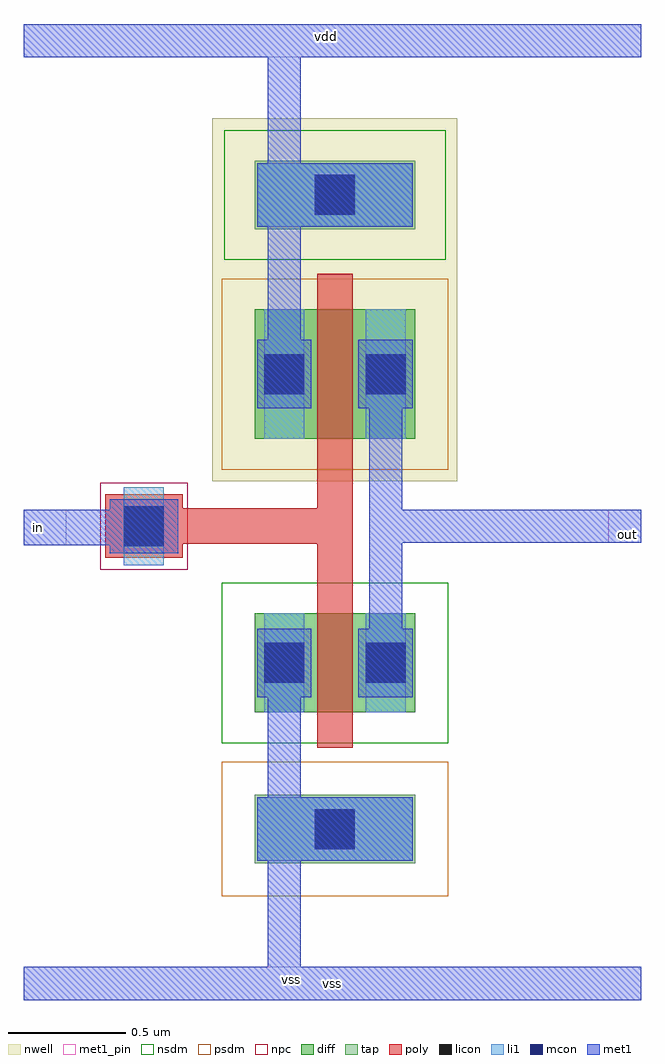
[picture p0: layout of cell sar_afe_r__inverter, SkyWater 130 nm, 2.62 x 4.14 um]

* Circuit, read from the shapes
.subckt sar_afe_r__inverter in out vdd vss
XM1 out in vss vss sky130_fd_pr__nfet_01v8 w=0.42 l=0.15
XM2 out in vdd vdd sky130_fd_pr__pfet_01v8 w=0.55 l=0.15
.ends

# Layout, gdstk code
import gdstk
lib = gdstk.Library(unit=1e-6, precision=1e-09)
def R(c, l, rs):  # rectangles x0, y0, x1, y1
    for r in rs: c.add(gdstk.rectangle(r[:2], r[2:], *l))
nwell = (64, 20)
diff = (65, 20)
tap = (65, 44)
poly = (66, 20)
licon = (66, 44)
li1 = (67, 20)
mcon = (67, 44)
met1_pin = (68, 16)
met1 = (68, 20)
nsdm = (93, 44)
psdm = (94, 20)
npc = (95, 20)

sar_afe_r__nfet_01v8_cdn = lib.new_cell('sar_afe_r__nfet_01v8_CDNS_792464069082')
R(sar_afe_r__nfet_01v8_cdn, diff, [(-0.265,0,0,0.42), (0,0,0.15,0.42), (0.15,0,0.415,0.42)])
R(sar_afe_r__nfet_01v8_cdn, tap, [(-0.265,-0.64,0.415,-0.35)])
R(sar_afe_r__nfet_01v8_cdn, poly, [(0,-0.15,0.15,-0.095), (0,-0.095,0.15,0), (0,0,0.15,0.42), (0,0.42,0.15,0.515), (0,0.515,0.15,0.57)])
R(sar_afe_r__nfet_01v8_cdn, licon, [(-0.01,-0.58,0.16,-0.41), (-0.225,0.125,-0.055,0.295), (0.205,0.125,0.375,0.295)])
R(sar_afe_r__nfet_01v8_cdn, li1, [(-0.255,-0.63,0.405,-0.36), (-0.225,0,-0.055,0.42), (0.205,0,0.375,0.42)])
R(sar_afe_r__nfet_01v8_cdn, mcon, [(-0.01,-0.58,0.16,-0.41)])
R(sar_afe_r__nfet_01v8_cdn, met1, [(-0.255,-0.63,0.405,-0.36)])
R(sar_afe_r__nfet_01v8_cdn, nsdm, [(-0.405,-0.13,0.555,0.55)])
R(sar_afe_r__nfet_01v8_cdn, psdm, [(-0.405,-0.78,0.555,-0.21)])
sar_afe_r__nfet_01v8_cdn.add(gdstk.Label('B', (0.075,-0.495), layer=68, texttype=20))
sar_afe_r__nfet_01v8_cdn.add(gdstk.Label('D_drain_1', (0.29,0.21), layer=67, texttype=20))
sar_afe_r__nfet_01v8_cdn.add(gdstk.Label('S_source_0', (-0.14,0.21), layer=67, texttype=20))
sar_afe_r__nfet_01v8_cdn.add(gdstk.Label('G_gate_1', (0.075,-0.122), layer=66, texttype=20))
sar_afe_r__nfet_01v8_cdn.add(gdstk.Label('G_gate_1', (0.075,0.542), layer=66, texttype=20))
sar_afe_r__nfet_01v8_cdn.add(gdstk.Label('D_drain_1', (0.282,0.21), layer=65, texttype=20))
sar_afe_r__nfet_01v8_cdn.add(gdstk.Label('S_source_0', (-0.132,0.21), layer=65, texttype=20))

sar_afe_r__pfet_01v8_cdn = lib.new_cell('sar_afe_r__pfet_01v8_CDNS_792464069083')
R(sar_afe_r__pfet_01v8_cdn, nwell, [(-0.445,-0.18,0.595,1.36)])
R(sar_afe_r__pfet_01v8_cdn, diff, [(-0.265,0,0,0.55), (0,0,0.15,0.55), (0.15,0,0.415,0.55)])
R(sar_afe_r__pfet_01v8_cdn, tap, [(-0.265,0.89,0.415,1.18)])
R(sar_afe_r__pfet_01v8_cdn, poly, [(0,-0.15,0.15,-0.095), (0,-0.095,0.15,0), (0,0,0.15,0.55), (0,0.55,0.15,0.645), (0,0.645,0.15,0.7)])
R(sar_afe_r__pfet_01v8_cdn, licon, [(-0.225,0.19,-0.055,0.36), (0.205,0.19,0.375,0.36), (-0.01,0.95,0.16,1.12)])
R(sar_afe_r__pfet_01v8_cdn, li1, [(-0.225,0,-0.055,0.55), (0.205,0,0.375,0.55), (-0.255,0.9,0.405,1.17)])
R(sar_afe_r__pfet_01v8_cdn, mcon, [(-0.01,0.95,0.16,1.12)])
R(sar_afe_r__pfet_01v8_cdn, met1, [(-0.255,0.9,0.405,1.17)])
R(sar_afe_r__pfet_01v8_cdn, nsdm, [(-0.395,0.76,0.545,1.31)])
R(sar_afe_r__pfet_01v8_cdn, psdm, [(-0.405,-0.13,0.555,0.68)])
sar_afe_r__pfet_01v8_cdn.add(gdstk.Label('B', (0.075,1.035), layer=68, texttype=20))
sar_afe_r__pfet_01v8_cdn.add(gdstk.Label('D_drain_1', (0.29,0.275), layer=67, texttype=20))
sar_afe_r__pfet_01v8_cdn.add(gdstk.Label('S_source_0', (-0.14,0.275), layer=67, texttype=20))
sar_afe_r__pfet_01v8_cdn.add(gdstk.Label('G_gate_1', (0.075,-0.122), layer=66, texttype=20))
sar_afe_r__pfet_01v8_cdn.add(gdstk.Label('G_gate_1', (0.075,0.672), layer=66, texttype=20))
sar_afe_r__pfet_01v8_cdn.add(gdstk.Label('D_drain_1', (0.282,0.275), layer=65, texttype=20))
sar_afe_r__pfet_01v8_cdn.add(gdstk.Label('S_source_0', (-0.132,0.275), layer=65, texttype=20))
sar_afe_r__pfet_01v8_cdn.add(gdstk.Label('B', (0.075,0.59), layer=64, texttype=20))

sar_afe_r__l1m1_c_cdns_7 = lib.new_cell('sar_afe_r__L1M1_C_CDNS_7924640690836')
R(sar_afe_r__l1m1_c_cdns_7, li1, [(-0.085,-0.165,0.085,0.165)])
R(sar_afe_r__l1m1_c_cdns_7, mcon, [(-0.085,-0.085,0.085,0.085)])
R(sar_afe_r__l1m1_c_cdns_7, met1, [(-0.115,-0.145,0.115,0.145)])

sar_afe_r__polyconn_cdns = lib.new_cell('sar_afe_r__polyConn_CDNS_792464069081')
R(sar_afe_r__polyconn_cdns, poly, [(-0.085,-0.085,0.085,0.085)])
R(sar_afe_r__polyconn_cdns, licon, [(-0.085,-0.085,0.085,0.085)])
R(sar_afe_r__polyconn_cdns, li1, [(-0.085,-0.165,0.085,0.165)])
R(sar_afe_r__polyconn_cdns, mcon, [(-0.085,-0.085,0.085,0.085)])
R(sar_afe_r__polyconn_cdns, met1, [(-0.145,-0.115,0.145,0.115)])
R(sar_afe_r__polyconn_cdns, npc, [(-0.185,-0.185,0.185,0.185)])

sar_afe_r__inverter = lib.new_cell('sar_afe_r__inverter')
R(sar_afe_r__inverter, poly, [(0.345,1.875,0.675,2.145)])
R(sar_afe_r__inverter, met1_pin, [(0,0,2.62,0.14), (0,1.93,0.18,2.08), (2.48,1.94,2.62,2.08), (0,4,2.62,4.14)])
sar_afe_r__inverter.add(gdstk.FlexPath([(0,4.07),(2.62,4.07)], 0.14, ends="flush", simple_path=True, layer=68, datatype=20))  # met1
sar_afe_r__inverter.add(gdstk.FlexPath([(0,0.07),(2.62,0.07)], 0.14, ends="flush", simple_path=True, layer=68, datatype=20))  # met1
sar_afe_r__inverter.add(gdstk.FlexPath([(2.62,2.01),(1.535,2.01)], 0.14, ends=(0, 0.07), simple_path=True, layer=68, datatype=20))  # met1
sar_afe_r__inverter.add(gdstk.FlexPath([(1.535,2.655),(1.535,2.01)], 0.14, ends=(0, 0.07), simple_path=True, layer=68, datatype=20))  # met1
sar_afe_r__inverter.add(gdstk.FlexPath([(1.535,2.01),(1.535,1.43)], 0.14, ends=(0.07, 0), simple_path=True, layer=68, datatype=20))  # met1
sar_afe_r__inverter.add(gdstk.FlexPath([(0.51,2.005),(0.51,2.01)], 0.15, ends=(0.075, 0), simple_path=True, layer=68, datatype=20))  # met1
sar_afe_r__inverter.add(gdstk.FlexPath([(1.105,2.655),(1.105,4)], 0.14, ends="flush", simple_path=True, layer=68, datatype=20))  # met1
sar_afe_r__inverter.add(gdstk.FlexPath([(1.105,1.43),(1.105,0.14)], 0.14, ends="flush", simple_path=True, layer=68, datatype=20))  # met1
sar_afe_r__inverter.add(gdstk.FlexPath([(0,2.005),(0.51,2.005)], 0.15, ends=(0, 0.075), simple_path=True, layer=68, datatype=20))  # met1
sar_afe_r__inverter.add(gdstk.FlexPath([(1.32,2.01),(1.32,1.79)], 0.15, ends=(0.075, 0), simple_path=True, layer=66, datatype=20))  # poly
sar_afe_r__inverter.add(gdstk.FlexPath([(0.51,2.01),(1.32,2.01)], 0.15, ends=(0, 0.075), simple_path=True, layer=66, datatype=20))  # poly
sar_afe_r__inverter.add(gdstk.FlexPath([(1.32,2.23),(1.32,2.01)], 0.15, ends=(0, 0.075), simple_path=True, layer=66, datatype=20))  # poly
sar_afe_r__inverter.add(gdstk.Reference(sar_afe_r__nfet_01v8_cdn, (1.245,1.22)))
sar_afe_r__inverter.add(gdstk.Reference(sar_afe_r__pfet_01v8_cdn, (1.245,2.38)))
sar_afe_r__inverter.add(gdstk.Reference(sar_afe_r__l1m1_c_cdns_7, (1.535,1.43)))
sar_afe_r__inverter.add(gdstk.Reference(sar_afe_r__l1m1_c_cdns_7, (1.105,2.655)))
sar_afe_r__inverter.add(gdstk.Reference(sar_afe_r__l1m1_c_cdns_7, (1.105,1.43)))
sar_afe_r__inverter.add(gdstk.Reference(sar_afe_r__l1m1_c_cdns_7, (1.535,2.655)))
sar_afe_r__inverter.add(gdstk.Reference(sar_afe_r__polyconn_cdns, (0.51,2.01)))
sar_afe_r__inverter.add(gdstk.Label('in', (0.065,2.005), layer=68, texttype=16))
sar_afe_r__inverter.add(gdstk.Label('out', (2.56,1.975), layer=68, texttype=16))
sar_afe_r__inverter.add(gdstk.Label('vdd', (1.285,4.085), layer=68, texttype=16))
sar_afe_r__inverter.add(gdstk.Label('vss', (1.135,0.085), layer=68, texttype=16))
sar_afe_r__inverter.add(gdstk.Label('vss', (1.31,0.07), layer=68, texttype=16))
sar_afe_r__inverter.add(gdstk.Label('vdd', (1.31,4.07), layer=68, texttype=16))
sar_afe_r__inverter.add(gdstk.Label('out', (2.55,2.01), layer=68, texttype=16))
sar_afe_r__inverter.add(gdstk.Label('in', (0.09,2.005), layer=68, texttype=16))

lib.write_gds('sar_afe_r__inverter.gds')
